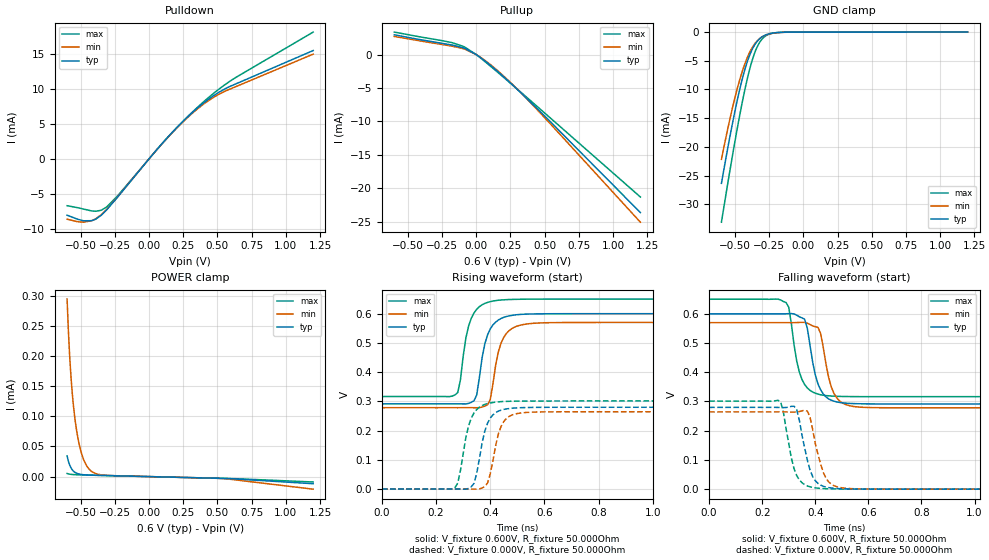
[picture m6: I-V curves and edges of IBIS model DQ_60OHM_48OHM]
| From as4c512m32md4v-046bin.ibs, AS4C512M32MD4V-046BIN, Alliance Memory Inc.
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|   MODEL: DQ_60OHM_48OHM
[Model]   DQ_60OHM_48OHM
Model_type   I/O
Polarity   Non-Inverting
Enable   Active-High
Vinl   = 0.080V
Vinh   = 0.220V
Vmeas   = 0.150V
Vref   = 0.150V
Cref   = 0.000pF
Rref   = 50.000Ohm
|   typ   min   max
C_comp   0.875pF   0.788pF   0.963pF
[Voltage Range]   0.600V   0.570V   0.650V
[Temperature Range]   25.0   95.0   -40.0
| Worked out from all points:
|   slope of the pulldown table from 0 to 0.09 V, typ, clamps not added: 43.5 ohm
|   slope of the pullup table from 0 to 0.09 V, typ, clamps not added: 65.2 ohm
|   GND clamp passes 1 mA (typ) near -0.31 V on its own axis
|   rising waveform, V_fixture 0.600V, R_fixture 50.000Ohm: 20-80 % time 40.3ps typ, 40.5ps min, 38.5ps max; typ from 0.292 V to 0.6 V
|   falling waveform, V_fixture 0.600V, R_fixture 50.000Ohm: 20-80 % time 41.5ps typ, 41.8ps min, 40ps max; typ from 0.6 V to 0.292 V
|   rising waveform, V_fixture 0.000V, R_fixture 50.000Ohm: 20-80 % time 39ps typ, 38.7ps min, 40.2ps max; typ from 0 V to 0.28 V
|   falling waveform, V_fixture 0.000V, R_fixture 50.000Ohm: 20-80 % time 42.1ps typ, 44ps min, 40.2ps max; typ from 0.28 V to 0 V
[Pulldown]
|   Voltage   I(typ)   I(min)   I(max)
-600mV    -8.067mA   -8.641mA   -6.714mA
-480mV    -8.867mA   -9.068mA   -7.191mA
-420mV    -8.855mA   -8.859mA   -7.459mA
-350mV    -8.079mA   -7.999mA   -7.36mA
-310mV    -7.301mA   -7.234mA   -6.891mA
-230mV    -5.468mA   -5.432mA   -5.289mA
130mV     2.946mA    2.91mA     2.912mA
270mV     5.771mA    5.683mA    5.784mA
400mV     7.996mA    7.828mA    8.169mA
490mV     9.253mA    8.998mA    9.638mA
580mV     10.23mA    9.864mA    10.93mA
1.2V      15.47mA    14.96mA    18.11mA
[Pullup]
|   Voltage   I(typ)   I(min)   I(max)
-600mV    2.969mA    2.718mA    3.369mA
-180mV    1.446mA    1.278mA    1.805mA
-100mV    1.041mA    915.1uA    1.27mA
0V        0A         0A         0A
70mV      -1.054mA   -969.1uA   -1.157mA
210mV     -3.5mA     -3.4mA     -3.575mA
400mV     -7.175mA   -7.266mA   -6.946mA
1.2V      -23.62mA   -25.07mA   -21.3mA
[GND Clamp]
|   Voltage   I(typ)   I(min)   I(max)
-600mV    -26.36mA   -22.19mA   -33.14mA
-550mV    -19.73mA   -16.43mA   -25.84mA
-510mV    -14.79mA   -12.27mA   -20.24mA
-470mV    -10.36mA   -8.615mA   -14.96mA
-430mV    -6.627mA   -5.609mA   -10.17mA
-390mV    -3.805mA   -3.349mA   -6.151mA
-360mV    -2.341mA   -2.151mA   -3.819mA
-320mV    -1.14mA    -1.122mA   -1.755mA
-280mV    -524.1uA   -555.5uA   -715.7uA
-230mV    -184.4uA   -215.6uA   -213.3uA
-140mV    -20.29uA   -29.99uA   -17.96uA
1.2V      6.836uA    7.386uA    6.714uA
[POWER Clamp]
|   Voltage   I(typ)   I(min)   I(max)
-600mV    34.27uA    294.1uA    5.169uA
-590mV    25uA       238.9uA    4.47uA
-570mV    13.84uA    160.6uA    3.674uA
-560mV    10.58uA    132.6uA    3.444uA
-540mV    6.655uA    91.24uA    3.146uA
-520mV    4.678uA    62.84uA    2.957uA
-490mV    3.339uA    35.2uA     2.748uA
-460mV    2.772uA    19.1uA     2.569uA
-420mV    2.39uA     8.47uA     2.342uA
-300mV    1.671uA    1.938uA    1.671uA
560mV     -3.13uA    -3.595uA   -3.086uA
1.2V      -11.8uA    -20.82uA   -8.926uA
[Ramp]
R_load = 50.000Ohm
|   typ   min   max
dV/dt_r   0.185V/40.000ps   0.175V/40.000ps   0.200V/30.000ps
dV/dt_f   0.185V/40.000ps   0.175V/40.000ps   0.200V/40.000ps
|Slew_r   4.627V/ns   4.375V/ns   6.670V/ns
|Slew_f   4.625V/ns   4.373V/ns   5.001V/ns
[Rising Waveform]
V_fixture = 0.600V
V_fixture_min = 0.570V
V_fixture_max = 0.650V
R_fixture = 50.000Ohm
L_fixture = 0.000nH
C_fixture = 0.000pF
|dV/dt_r   0.185V/40.000ps   0.175V/40.000ps   0.200V/30.000ps
|Slew_r   4.627V/ns   4.375V/ns   6.670V/ns
|   Time   V(typ)   V(min)   V(max)
0s        291.5mV    278.3mV    316.5mV
280ps     291.7mV    278.4mV    330.3mV
310ps     291.4mV    278.5mV    517.1mV
340ps     301.9mV    278.3mV    602.5mV
380ps     496.7mV    283.7mV    635.2mV
400ps     547.7mV    306.3mV    641.2mV
440ps     583.7mV    499.5mV    646.9mV
490ps     595.6mV    554.2mV    649mV
630ps     599.8mV    569.4mV    650mV
5ns       600mV      570mV      650mV
[Falling Waveform]
V_fixture = 0.600V
V_fixture_min = 0.570V
V_fixture_max = 0.650V
R_fixture = 50.000Ohm
L_fixture = 0.000nH
C_fixture = 0.000pF
|dV/dt_f   0.185V/40.000ps   0.175V/40.000ps   0.200V/40.000ps
|Slew_f   4.625V/ns   4.373V/ns   5.001V/ns
|   Time   V(typ)   V(min)   V(max)
0s        599.9mV    569.9mV    649.9mV
290ps     600.2mV    569.9mV    638.5mV
300ps     600.6mV    569.9mV    622.3mV
330ps     595.4mV    570.2mV    437.9mV
360ps     581.2mV    570.6mV    357.8mV
420ps     340.2mV    532.8mV    323.1mV
460ps     304.6mV    350.2mV    318.7mV
510ps     294.6mV    291.1mV    317.1mV
630ps     291.7mV    278.9mV    316.6mV
5ns       291.6mV    278.4mV    316.5mV
[Rising Waveform]
V_fixture = 0.000V
V_fixture_min = 0.000V
V_fixture_max = 0.000V
R_fixture = 50.000Ohm
L_fixture = 0.000nH
C_fixture = 0.000pF
|dV/dt_r   0.168V/30.000ps   0.159V/30.000ps   0.181V/40.000ps
|Slew_r   5.597V/ns   5.288V/ns   4.521V/ns
|   Time   V(typ)   V(min)   V(max)
0s        4.382uV    13.02uV    1.859uV
270ps     71.61uV    13.55uV    5.329mV
280ps     10.64uV    17.25uV    20.26mV
330ps     7.837mV    -177.6uV   242.8mV
350ps     53.6mV     -332.4uV   272.1mV
390ps     225.4mV    20.72mV    292.6mV
440ps     270mV      214.3mV    299.1mV
480ps     276.5mV    253.3mV    300.5mV
600ps     279.7mV    264mV      301.3mV
5ns       279.9mV    264.4mV    301.4mV
[Falling Waveform]
V_fixture = 0.000V
V_fixture_min = 0.000V
V_fixture_max = 0.000V
R_fixture = 50.000Ohm
L_fixture = 0.000nH
C_fixture = 0.000pF
|dV/dt_f   0.168V/40.000ps   0.159V/50.000ps   0.181V/40.000ps
|Slew_f   4.197V/ns   3.172V/ns   4.520V/ns
|   Time   V(typ)   V(min)   V(max)
0s        279.8mV    264.4mV    301.3mV
260ps     279.7mV    264.5mV    304.2mV
280ps     279.1mV    264.5mV    261.9mV
320ps     283.8mV    263.6mV    69.59mV
330ps     272.1mV    264.1mV    46.15mV
370ps     99.38mV    266.8mV    10.91mV
420ps     13.92mV    86.06mV    2.626mV
460ps     4.048mV    17.21mV    1.047mV
570ps     319.9uV    787.4uV    41.53uV
5ns       4.852uV    13.44uV    2.333uV
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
